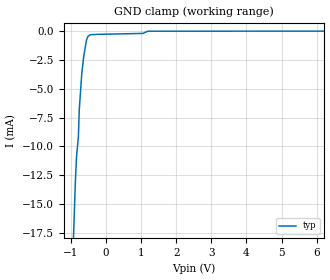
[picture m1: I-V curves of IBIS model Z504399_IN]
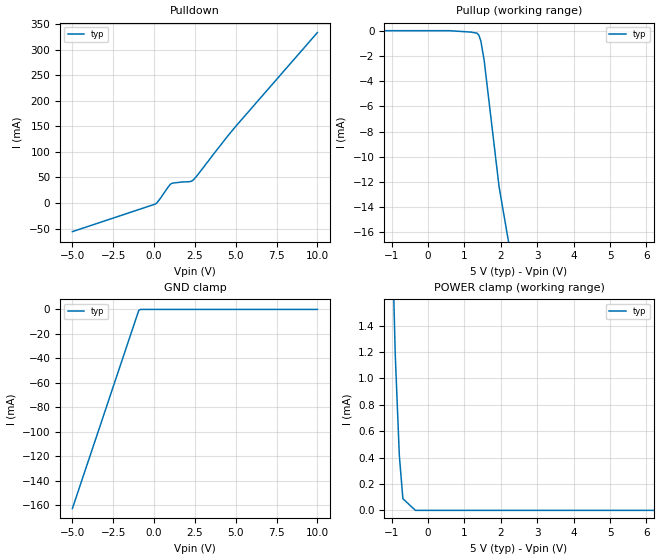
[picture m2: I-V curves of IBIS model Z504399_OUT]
| YOU ARE ONLY AUTHORIZED TO USE THIS SOFTWARE
| ACCORDING TO LICENSOR'S LICENSE RESTRICTIONS.
[IBIS Ver] 3.1
[File Name] sn54ls169j.ibs
[File Rev] 2.0
[Source] Measured and created by ICX Technology
[Date] Friday 7/14/00 9:08:14 AM
[Copyright]
| (C) COPYRIGHT 1993-2000
| MENTOR GRAPHICS CORPORATION
| ICX STANDARD LIBRARY, ICX PROJECT MODELING,
| ICX CUSTOM MODELING, ICX VENDOR MODEL
| ALL RIGHTS RESERVED.
| THE FOLLOWING ARE TRADEMARKS OR SERVICE MARKS OF
| MENTOR GRAPHICS CORPORATION:ICX (R), ICX STANDARD
| LIBRARY(R), ICX PROJECT MODELING(R), ICX CUSTOM
| MODELING(R), qualityIBIS(TM), MODELVIEWER(TM),
| AND MODELEDITOR(TM)
| ALL COPIES OF SOFTWARE, INCLUDING BUT NOT LIMITED TO
| ANY MODIFICATIONS, ENHANCEMENTS OR DERIVATIVE WORKS,
| MUST CONTAIN ALL MENTOR GRAPHICS CORPORATION'S
| NOTICES AND LEGENDS, INCLUDING THOSE EMBEDDED IN
| SOFTWARE AND THOSE AFFIXED TO SOFTWARE MEDIUM
| AND CONTAINER, AS RECEIVED FROM MENTOR GRAPHICS
| CORPORATION.
|  ZAP Model Builder 2.7
[Component] SN54LS169J
[Manufacturer] OnSemiconductor
[Package]
| variable   typ   min   max
R_pkg  .212ohms NA NA
L_pkg  4.758nH NA NA
C_pkg  1.944pF NA NA
[Pin] signal_name  model_name  R_pin  L_pin C_pin
1 U_D Z504399_IN .224 7.258n 2.683p
2 CLK Z504399_IN .216 5.258n 2.19p
3 A Z504399_IN .208 3.758n 1.697p
4 B Z504399_IN .2 2.758n 1.204p
5 C Z504399_IN .2 2.758n 1.204p
6 D Z504399_IN .208 3.758n 1.697p
7 _ENP Z504399_IN .216 5.258n 2.19p
8 GND GND .224 7.258n 2.683p
9 _LOAD Z504399_IN .224 7.258n 2.683p
10 _ENT Z504399_IN .216 5.258n 2.19p
11 QD Z504399_OUT .208 3.758n 1.697p
12 QC Z504399_OUT .2 2.758n 1.204p
13 QB Z504399_OUT .2 2.758n 1.204p
14 QA Z504399_OUT .208 3.758n 1.697p
15 _RCO Z504399_OUT .216 5.258n 2.19p
16 VCC POWER .224 7.258n 2.683p
| Models and submodels in the file (2): Z504399_IN (Input), Z504399_OUT (Output)
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| (C) COPYRIGHT 1993-2000
| MENTOR GRAPHICS CORPORATION
| ICX STANDARD LIBRARY, ICX PROJECT MODELING,
| ICX CUSTOM MODELING, ICX VENDOR MODEL
| ALL RIGHTS RESERVED.
| THE FOLLOWING ARE TRADEMARKS OR SERVICE MARKS OF
| MENTOR GRAPHICS CORPORATION:ICX (R), ICX STANDARD
| LIBRARY(R), ICX PROJECT MODELING(R), ICX CUSTOM
| MODELING(R), qualityIBIS(TM), MODELVIEWER(TM),
| AND MODELEDITOR(TM)
| ALL COPIES OF SOFTWARE, INCLUDING BUT NOT LIMITED TO
| ANY MODIFICATIONS, ENHANCEMENTS OR DERIVATIVE WORKS,
| MUST CONTAIN ALL MENTOR GRAPHICS CORPORATION'S
| NOTICES AND LEGENDS, INCLUDING THOSE EMBEDDED IN
| SOFTWARE AND THOSE AFFIXED TO SOFTWARE MEDIUM
| AND CONTAINER, AS RECEIVED FROM MENTOR GRAPHICS
| CORPORATION.
| Model Application Version 1.89 2/18/99.
[Model] Z504399_IN
Model_type Input
Vinl = 800.0mV
Vinh = 2.000V
C_comp 4.000pF NA NA
| variable typ   min   max
[Voltage Range] 5.000V NA NA
[GND Clamp Reference] 0.000V NA NA
[POWER Clamp Reference] 5.000V NA NA
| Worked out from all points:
|   GND clamp passes 1 mA (typ) near -0.57 V on its own axis
[GND Clamp]
-5V       -391.5mA   NA         NA
-874mV    -13.26mA   NA         NA
-839.8mV  -10.94mA   NA         NA
-786.4mV  -9.207mA   NA         NA
-759.1mV  -6.76mA    NA         NA
-692.2mV  -3.817mA   NA         NA
-642.5mV  -2.383mA   NA         NA
-561.5mV  -860.1uA   NA         NA
-444.5mV  -313.9uA   NA         NA
1.05V     -198.2uA   NA         NA
1.187V    -7.284uA   NA         NA
10V       4.847uA    NA         NA
[POWER Clamp]
-5V       0A         NA         NA
10V       0A         NA         NA
| (C) COPYRIGHT 1993-2000
| MENTOR GRAPHICS CORPORATION
| ICX STANDARD LIBRARY, ICX PROJECT MODELING,
| ICX CUSTOM MODELING, ICX VENDOR MODEL
| ALL RIGHTS RESERVED.
| THE FOLLOWING ARE TRADEMARKS OR SERVICE MARKS OF
| MENTOR GRAPHICS CORPORATION:ICX (R), ICX STANDARD
| LIBRARY(R), ICX PROJECT MODELING(R), ICX CUSTOM
| MODELING(R), qualityIBIS(TM), MODELVIEWER(TM),
| AND MODELEDITOR(TM)
| ALL COPIES OF SOFTWARE, INCLUDING BUT NOT LIMITED TO
| ANY MODIFICATIONS, ENHANCEMENTS OR DERIVATIVE WORKS,
| MUST CONTAIN ALL MENTOR GRAPHICS CORPORATION'S
| NOTICES AND LEGENDS, INCLUDING THOSE EMBEDDED IN
| SOFTWARE AND THOSE AFFIXED TO SOFTWARE MEDIUM
| AND CONTAINER, AS RECEIVED FROM MENTOR GRAPHICS
| CORPORATION.
| Model Application Version 1.89 2/18/99.
[Model] Z504399_OUT
Model_type Output
Vref=5.000V
Rref=2.000kohms
Cref=15.00pF
Vmeas=1.300V
C_comp 8.000pF NA NA
| variable typ   min   max
[Voltage Range] 5.000V NA NA
[POWER Clamp Reference] 5.000V NA NA
[Pullup Reference] 5.000V NA NA
[Pulldown Reference] 0.000V NA NA
[GND Clamp Reference] 0.000V NA NA
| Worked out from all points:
|   slope of the pulldown table from 0 to 0.75 V, typ, clamps not added: 26 ohm
|   slope of the pullup table from 0 to 0.75 V, typ, clamps not added: 24.4 kohm
|   POWER clamp passes 1 mA (typ) near -0.87 V on its own axis
[GND Clamp]
-5V       -162.7mA   NA         NA
-933.5mV  -651.4uA   NA         NA
-816.8mV  0A         NA         NA
10V       0A         NA         NA
[Pulldown]
-5V       -55.97mA   NA         NA
70.08mV   -2.094mA   NA         NA
151.5mV   -422.6uA   NA         NA
380.9mV   8.824mA    NA         NA
869.5mV   31.62mA    NA         NA
1.045V    37.79mA    NA         NA
2.236V    42.03mA    NA         NA
2.394V    44.92mA    NA         NA
4.971V    148.8mA    NA         NA
10V       333.2mA    NA         NA
[Pullup]
-5V       15.65uA    NA         NA
586mV     15.65uA    NA         NA
1.182V    -95.83uA   NA         NA
1.343V    -178.6uA   NA         NA
1.401V    -354.6uA   NA         NA
1.455V    -831.9uA   NA         NA
1.543V    -2.327mA   NA         NA
1.953V    -12.37mA   NA         NA
10V       -147.8mA   NA         NA
[POWER Clamp]
-5V       45.22mA    NA         NA
-898mV    1.182mA    NA         NA
-786mV    416.7uA    NA         NA
-688mV    88.25uA    NA         NA
-344mV    0A         NA         NA
10V       0A         NA         NA
[Ramp]
| variable typ min max
dV/dt_r 1.878/10.36n NA NA
dV/dt_f 1.878/2.284n NA NA
R_load = 500.0Ohms
